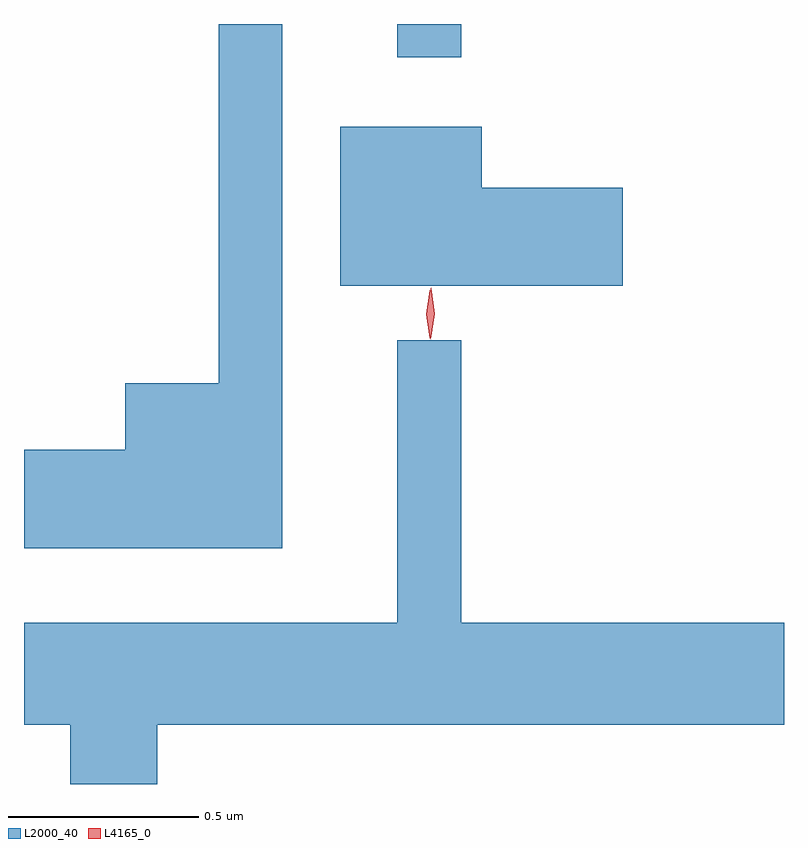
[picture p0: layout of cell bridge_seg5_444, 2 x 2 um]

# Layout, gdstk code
import gdstk
lib = gdstk.Library(unit=1e-6, precision=1e-09)
def R(c, l, rs):  # rectangles x0, y0, x1, y1
    for r in rs: c.add(gdstk.rectangle(r[:2], r[2:], *l))
def P(c, l, *ps):  # polygons
    for p in ps: c.add(gdstk.Polygon(p, *l))
L2000_40 = (2000, 40)
L4165_0 = (4165, 0)

bridge_seg5_444 = lib.new_cell('bridge_seg5_444')
R(bridge_seg5_444, L2000_40, [(602.291,1529.593,602.459,1529.68)])
P(bridge_seg5_444, L2000_40, [(601.989,1529.68),(601.821,1529.68),(601.821,1528.734),(601.576,1528.734),(601.576,1528.559),(601.309,1528.559),(601.309,1528.301),(601.989,1528.301)],
  [(602.884,1529.249),(602.514,1529.249),(602.514,1529.409),(602.141,1529.409),(602.141,1528.991),(602.884,1528.991)],
  [(601.659,1527.836),(603.309,1527.836),(603.309,1528.104),(602.459,1528.104),(602.459,1528.848),(602.291,1528.848),(602.291,1528.104),(601.309,1528.104),(601.309,1527.836),(601.431,1527.836),(601.431,1527.68),(601.659,1527.68)])
P(bridge_seg5_444, L4165_0, [(602.377,1528.853),(602.377,1528.853),(602.367,1528.916),(602.377,1528.98),(602.377,1528.98),(602.378,1528.98),(602.387,1528.916),(602.378,1528.853)],
  [(602.379,1528.85),(602.379,1528.85),(602.37,1528.918),(602.38,1528.985),(602.381,1528.986),(602.381,1528.985),(602.39,1528.918),(602.38,1528.85)])

lib.write_gds('bridge_seg5_444.gds')
